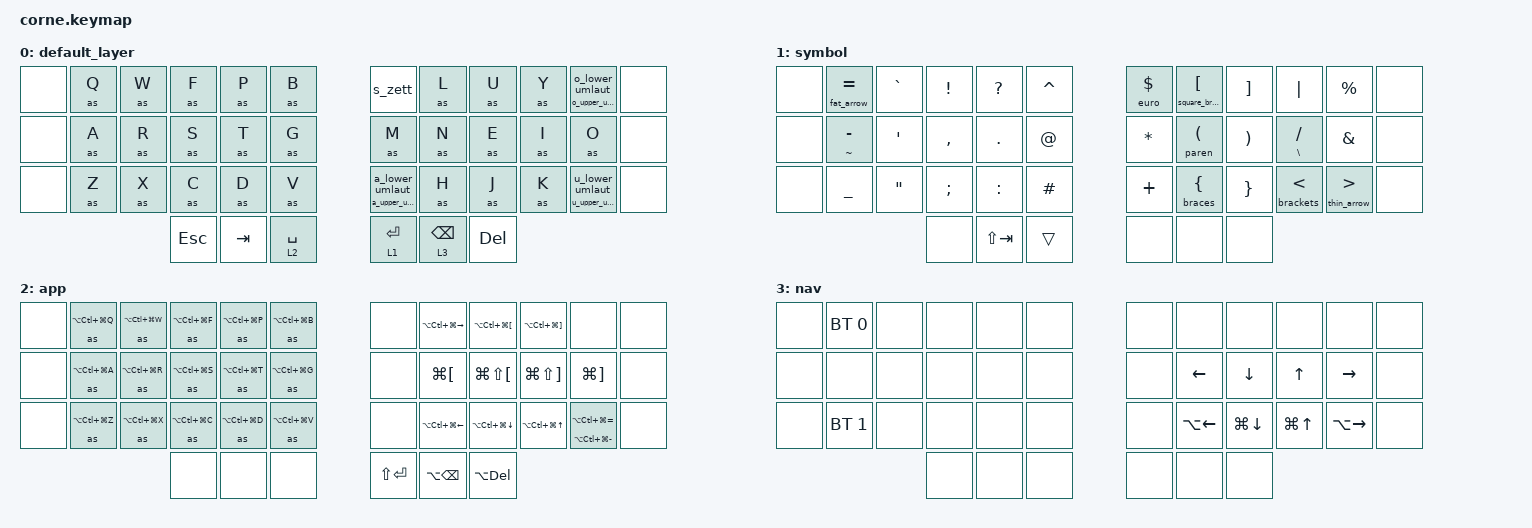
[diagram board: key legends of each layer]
/*
 * Copyright (c) 2020 The ZMK Contributors
 *
 * SPDX-License-Identifier: MIT
 */

#include <behaviors.dtsi>
#include <dt-bindings/zmk/bt.h>
#include <dt-bindings/zmk/keys.h>

/ {
    behaviors {
        as_ht: autoshift_hold_tap {
            compatible = "zmk,behavior-hold-tap";
            label = "AUTOSHIFT_HOLD_TAP";
            #binding-cells = <2>;
            tapping-term-ms = <140>;
            bindings = <&shifted>, <&kp>;

            flavor = "tap-preferred";
        };

        a_umlaut_mm: a_umlaut_mm {
            compatible = "zmk,behavior-mod-morph";
            label = "A_UMLAUT_MM";
            bindings = <&a_lower_umlaut>, <&o_upper_umlaut>;

            #binding-cells = <0>;
            mods = <(MOD_LSFT|MOD_RSFT)>;
        };

        o_umlaut_mm: o_umlaut_mm {
            compatible = "zmk,behavior-mod-morph";
            label = "O_UMLAUT_MM";
            bindings = <&o_lower_umlaut>, <&o_upper_umlaut>;

            #binding-cells = <0>;
            mods = <(MOD_LSFT|MOD_RSFT)>;
        };

        u_umlaut_mm: u_umlaut_mm {
            compatible = "zmk,behavior-mod-morph";
            label = "U_UMLAUT_MM";
            bindings = <&u_lower_umlaut>, <&u_upper_umlaut>;

            #binding-cells = <0>;
            mods = <(MOD_LSFT|MOD_RSFT)>;
        };

        th_thin_arrow: th_thin_arrow {
            compatible = "zmk,behavior-hold-tap";
            label = "TH_THIN_ARROW";
            bindings = <&thin_arrow>, <&kp>;

            #binding-cells = <2>;
            tapping-term-ms = <200>;
        };

        th_fat_arrow: th_fat_arrow {
            compatible = "zmk,behavior-hold-tap";
            label = "TH_FAT_ARROW";
            bindings = <&fat_arrow>, <&kp>;

            #binding-cells = <2>;
            tapping-term-ms = <200>;
        };

        th_brackets: th_brackets {
            compatible = "zmk,behavior-hold-tap";
            label = "TH_BRACKETS";
            bindings = <&brackets>, <&kp>;

            #binding-cells = <2>;
            tapping-term-ms = <200>;
        };

        th_paren: th_paren {
            compatible = "zmk,behavior-hold-tap";
            label = "TH_PAREN";
            bindings = <&paren>, <&kp>;

            #binding-cells = <2>;
            tapping-term-ms = <200>;
        };

        th_square_brackets: th_square_brackets {
            compatible = "zmk,behavior-hold-tap";
            label = "TH_SQUARE_BRACKETS";
            bindings = <&square_brackets>, <&kp>;

            #binding-cells = <2>;
            tapping-term-ms = <200>;
        };

        th_braces: th_braces {
            compatible = "zmk,behavior-hold-tap";
            label = "TH_BRACES";
            bindings = <&braces>, <&kp>;

            #binding-cells = <2>;
            tapping-term-ms = <200>;
        };

        a_umlaut: a_umlaut {
            compatible = "zmk,behavior-hold-tap";
            label = "A_UMLAUT";
            bindings = <&a_upper_umlaut>, <&a_lower_umlaut>;

            #binding-cells = <2>;
            tapping-term-ms = <140>;
        };

        u_umlaut: u_umlaut {
            compatible = "zmk,behavior-hold-tap";
            label = "U_UMLAUT";
            bindings = <&u_upper_umlaut>, <&u_lower_umlaut>;

            #binding-cells = <2>;
            tapping-term-ms = <140>;
        };

        o_umlaut: o_umlaut {
            compatible = "zmk,behavior-hold-tap";
            label = "O_UMLAUT";
            bindings = <&o_upper_umlaut>, <&o_lower_umlaut>;

            #binding-cells = <2>;
            tapping-term-ms = <140>;
        };

        th_kp_kp: th_kp_kp {
            compatible = "zmk,behavior-hold-tap";
            label = "TH_KP_KP";
            bindings = <&kp>, <&kp>;

            #binding-cells = <2>;
            tapping-term-ms = <120>;
            flavor = "tap-preferred";
        };

        th_kp_sk: th_kp_sk {
            compatible = "zmk,behavior-hold-tap";
            label = "TH_KP_SK";
            bindings = <&kp>, <&sk>;

            #binding-cells = <2>;
            tapping-term-ms = <200>;
            flavor = "tap-preferred";
        };

        th_kp_mo: th_kp_mo {
            compatible = "zmk,behavior-hold-tap";
            label = "TH_KP_MO";
            bindings = <&mo>, <&kp>;

            #binding-cells = <2>;
            tapping-term-ms = <200>;
            flavor = "tap-preferred";
        };

        th_cw_sk: th_cw_sk {
            compatible = "zmk,behavior-hold-tap";
            label = "TH_CW_SK";
            bindings = <&kp>, <&caps_word>;

            #binding-cells = <2>;
            tapping-term-ms = <200>;
            flavor = "tap-preferred";
        };

        th_euro: th_euro {
            compatible = "zmk,behavior-hold-tap";
            label = "TH_EURO";
            bindings = <&euro>, <&kp>;

            #binding-cells = <2>;
            tapping-term-ms = <200>;
            flavor = "tap-preferred";
        };
    };

    macros {
        shifted: macro_shifted_kp {
            #binding-cells = <1>;
            label = "MACRO_SHIFTED_KP";
            compatible = "zmk,behavior-macro-one-param";
            bindings =
                <&macro_press>,
                <&kp LSHFT &macro_param_1to1>,
                <&macro_tap>,
                <&kp MACRO_PLACEHOLDER>,
                <&macro_release>,
                <&kp LSHFT>;
        };

        as: autoshift {
            compatible = "zmk,behavior-macro-one-param";
            #binding-cells = <1>;
            label = "AUTOSHIFT_KP";
            bindings =
                <&macro_press>,
                <&macro_param_1to1 &macro_param_1to2 &as_ht MACRO_PLACEHOLDER MACRO_PLACEHOLDER>,
                <&macro_pause_for_release>,
                <&macro_release>,
                <&macro_param_1to1 &macro_param_1to2 &as_ht MACRO_PLACEHOLDER MACRO_PLACEHOLDER>;
        };

        a_lower_umlaut: a_lower_umlaut {
            compatible = "zmk,behavior-macro";
            #binding-cells = <0>;
            bindings = <&kp RA(U)>, <&macro_wait_time 5>, <&kp A>;

            label = "A_LOWER_UMLAUT";
        };

        a_upper_umlaut: a_upper_umlaut {
            compatible = "zmk,behavior-macro";
            #binding-cells = <0>;
            bindings = <&kp RA(U)>, <&macro_wait_time 5>, <&kp RS(A)>;

            label = "A_UPPER_UMLAUT";
        };

        o_lower_umlaut: o_lower_umlaut {
            compatible = "zmk,behavior-macro";
            #binding-cells = <0>;
            bindings = <&kp RA(U)>, <&macro_wait_time 5>, <&kp O>;

            label = "O_LOWER_UMLAUT";
        };

        o_upper_umlaut: o_upper_umlaut {
            compatible = "zmk,behavior-macro";
            #binding-cells = <0>;
            bindings = <&kp RA(U)>, <&macro_wait_time 5>, <&kp RS(O)>;

            label = "O_UPPER_UMLAUT";
        };

        u_lower_umlaut: u_lower_umlau {
            compatible = "zmk,behavior-macro";
            #binding-cells = <0>;
            bindings = <&kp RA(U)>, <&macro_wait_time 5>, <&kp U>;

            label = "U_LOWER_UMLAU";
        };

        u_upper_umlaut: u_upper_umlaut {
            compatible = "zmk,behavior-macro";
            #binding-cells = <0>;
            bindings = <&kp RA(U)>, <&macro_wait_time 5>, <&kp RS(U)>;

            label = "U_UPPER_UMLAUT";
        };

        euro: new_macro {
            compatible = "zmk,behavior-macro";
            #binding-cells = <0>;
            bindings = <&kp RA(AT)>;
            label = "NEW_MACRO";
        };

        s_zett: s_zett {
            compatible = "zmk,behavior-macro";
            #binding-cells = <0>;
            bindings = <&kp RA(S)>;
            label = "S_ZETT";
        };

        thin_arrow: thin_arrow {
            compatible = "zmk,behavior-macro";
            #binding-cells = <0>;
            bindings = <&kp MINUS &kp GT>;
            label = "THIN_ARROW";
        };

        fat_arrow: fat_arrow {
            compatible = "zmk,behavior-macro";
            #binding-cells = <0>;
            bindings = <&kp EQUAL &kp GT>;
            label = "FAT_ARROW";
        };

        brackets: brackets {
            compatible = "zmk,behavior-macro";
            #binding-cells = <0>;
            bindings = <&kp LT &kp GT &kp LEFT>;
            label = "BRACKETS";
        };

        paren: paren {
            compatible = "zmk,behavior-macro";
            #binding-cells = <0>;
            bindings = <&kp LPAR &kp RPAR &kp LEFT>;
            label = "PAREN";
        };

        square_brackets: square_brackets {
            compatible = "zmk,behavior-macro";
            #binding-cells = <0>;
            bindings = <&kp LBKT &kp RIGHT_BRACKET &kp LEFT_ARROW>;
            label = "SQUARE_BRACKETS";
        };

        braces: braces {
            compatible = "zmk,behavior-macro";
            #binding-cells = <0>;
            bindings = <&kp LEFT_BRACE &kp RET &kp RET &kp RIGHT_BRACE &kp UP>;
            label = "BRACES";
        };
    };

    combos {
        compatible = "zmk,combos";

        CombN1 {
            bindings = <&kp NUMBER_1>;
            key-positions = <18 19>;
        };

        CombN2 {
            bindings = <&kp NUMBER_2>;
            key-positions = <2 14>;
        };

        CombN3 {
            bindings = <&kp NUMBER_3>;
            key-positions = <3 15>;
        };

        CombN4 {
            bindings = <&kp NUMBER_4>;
            key-positions = <4 16>;
        };

        CombN5 {
            bindings = <&kp NUMBER_5>;
            key-positions = <5 17>;
        };

        CombN6 {
            bindings = <&kp NUMBER_6>;
            key-positions = <6 18>;
        };

        CombN7 {
            bindings = <&kp NUMBER_7>;
            key-positions = <7 19>;
        };

        CombN8 {
            bindings = <&kp NUMBER_8>;
            key-positions = <8 20>;
        };

        CombN9 {
            bindings = <&kp NUMBER_9>;
            key-positions = <9 21>;
        };

        CombN0 {
            bindings = <&kp NUMBER_0>;
            key-positions = <16 17>;
        };

        Combo_LCMD {
            bindings = <&th_kp_sk LCMD LCMD>;
            key-positions = <16 28>;
            layers = <0>;
        };

        Combo_RCMD {
            bindings = <&th_kp_sk RCMD RCMD>;
            key-positions = <19 31>;
            layers = <0>;
        };

        Combo_LOPT {
            bindings = <&th_kp_sk LALT LALT>;
            key-positions = <14 26>;
            layers = <0>;
        };

        Combo_ROPT {
            bindings = <&th_kp_sk RALT RALT>;
            key-positions = <21 33>;
            layers = <0>;
        };

        Combo_LCTRL {
            bindings = <&th_kp_sk LCTRL LCTRL>;
            key-positions = <15 27>;
            layers = <0>;
        };

        Combo_RCTRL {
            bindings = <&th_kp_sk RCTRL RCTRL>;
            key-positions = <20 32>;
            layers = <0>;
        };

        Combo_LSHIFT {
            bindings = <&th_cw_sk LSHIFT 0>;
            key-positions = <13 25>;
            layers = <0>;
        };

        Combo_RSHIFT {
            bindings = <&th_cw_sk RSHFT 0>;
            key-positions = <22 34>;
            layers = <0>;
        };
    };

    keymap {
        compatible = "zmk,keymap";

        default_layer {
            bindings = <
&none  &as Q  &as W  &as F       &as P    &as B                &s_zett          &as L                  &as U       &as Y  &o_umlaut 0 0  &none
&none  &as A  &as R  &as S       &as T    &as G                &as M            &as N                  &as E       &as I  &as O          &none
&none  &as Z  &as X  &as C       &as D    &as V                &a_umlaut 0 0    &as H                  &as J       &as K  &u_umlaut 0 0  &none
                     &kp ESCAPE  &kp TAB  &th_kp_mo 2 SPACE    &th_kp_mo 1 RET  &th_kp_mo 3 BACKSPACE  &kp DELETE
            >;
        };

        symbol {
            bindings = <
&none  &th_fat_arrow 0 EQUAL  &kp GRAVE          &kp EXCLAMATION  &kp QUESTION  &kp CARET    &th_euro 0 DOLLAR  &th_square_brackets 0 LEFT_BRACKET  &kp RIGHT_BRACKET      &kp PIPE                   &kp PERCENT          &none
&none  &th_kp_kp TILDE MINUS  &kp SINGLE_QUOTE   &kp COMMA        &kp DOT       &kp AT       &kp ASTERISK       &th_paren 0 LEFT_PARENTHESIS        &kp RIGHT_PARENTHESIS  &th_kp_kp BACKSLASH SLASH  &kp AMPERSAND        &none
&none  &kp UNDERSCORE         &kp DOUBLE_QUOTES  &kp SEMICOLON    &kp COLON     &kp HASH     &kp PLUS           &th_braces 0 LEFT_BRACE             &kp RIGHT_BRACE        &th_brackets 0 LT          &th_thin_arrow 0 GT  &none
                                                 &none            &kp LS(TAB)   &trans       &none              &none                               &none
            >;
        };

        app {
            bindings = <
&none  &as LA(LC(LG(Q)))  &as LA(LC(LG(W)))  &as LA(LC(LG(F)))  &as LA(LC(LG(P)))  &as LA(LC(LG(B)))    &none        &kp LA(LC(LG(RIGHT)))  &kp LA(LC(LG(LEFT_BRACKET)))  &kp LA(LC(LG(RIGHT_BRACKET)))  &none                                          &none
&none  &as LA(LC(LG(A)))  &as LA(LC(LG(R)))  &as LA(LC(LG(S)))  &as LA(LC(LG(T)))  &as LA(LC(LG(G)))    &none        &kp LG(LEFT_BRACKET)   &kp LG(LS(LEFT_BRACKET))      &kp LG(LS(RIGHT_BRACKET))      &kp LG(RIGHT_BRACKET)                          &none
&none  &as LA(LC(LG(Z)))  &as LA(LC(LG(X)))  &as LA(LC(LG(C)))  &as LA(LC(LG(D)))  &as LA(LC(LG(V)))    &none        &kp LA(LC(LG(LEFT)))   &kp LA(LC(LG(DOWN)))          &kp LA(LC(LG(UP_ARROW)))       &th_kp_kp LA(LC(LG(MINUS))) LA(LC(LG(EQUAL)))  &none
                                             &none              &none              &none                &kp LS(RET)  &kp LA(BACKSPACE)      &kp LA(DELETE)
            >;
        };

        nav {
            bindings = <
&none  &bt BT_SEL 0  &none  &none  &none  &none    &none  &none               &none           &none         &none          &none
&none  &none         &none  &none  &none  &none    &none  &kp LEFT            &kp DOWN_ARROW  &kp UP_ARROW  &kp RIGHT      &none
&none  &bt BT_SEL 1  &none  &none  &none  &none    &none  &kp LA(LEFT_ARROW)  &kp LG(DOWN)    &kp LG(UP)    &kp LA(RIGHT)  &none
                            &none  &none  &none    &none  &none               &none
            >;
        };
    };
};
